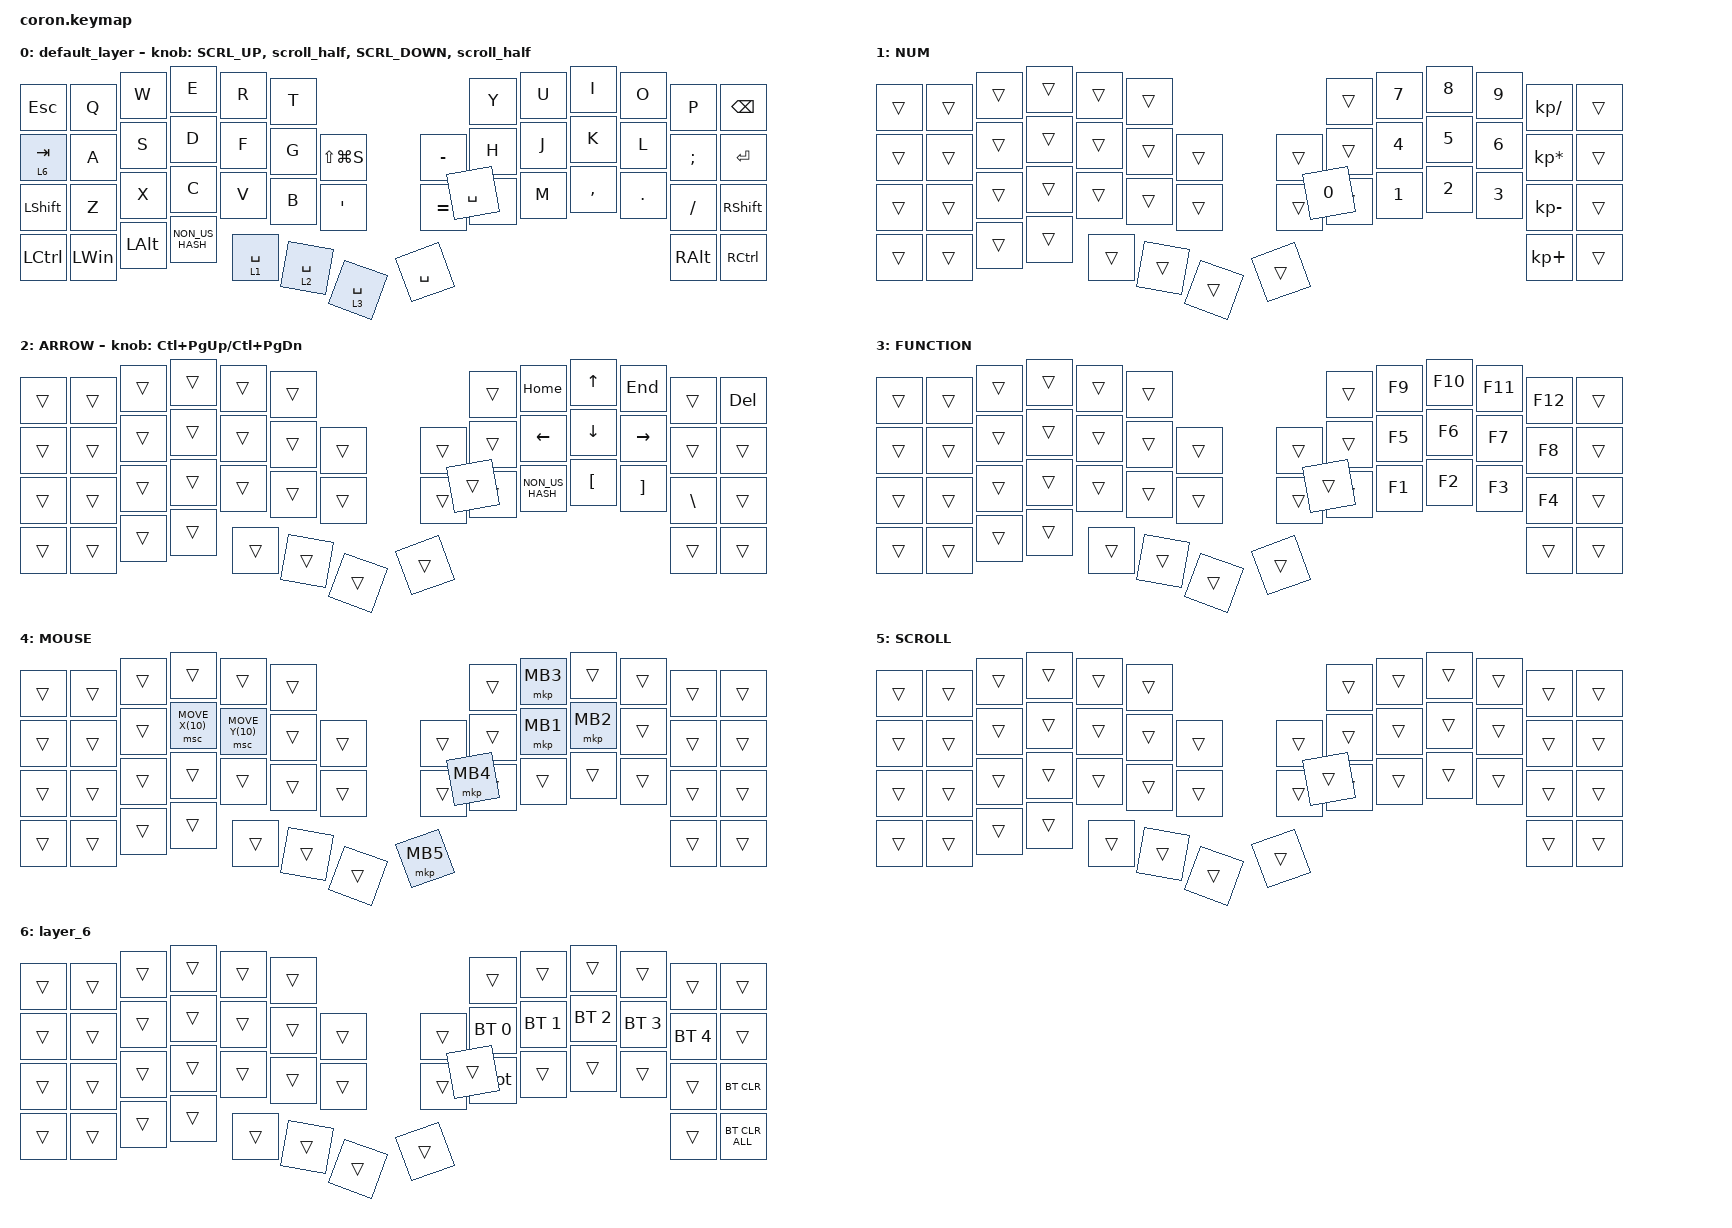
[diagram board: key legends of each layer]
/* coron.keymap */

#include <behaviors.dtsi>
#include <dt-bindings/zmk/bt.h>
#include <dt-bindings/zmk/keys.h>
#include <dt-bindings/zmk/pointing.h>

&mt {
    flavor = "balanced";
    quick-tap-ms = <0>;
};

&trackball {
    automouse-layer = <4>;
    scroll-layers = <5>;
};

&left_encoder {
    status = "okay";
    input-processors = <&scroll_half>;
};

/ {
    combos {
        compatible = "zmk,combos";

        /* Note: Key positions have shifted due to added columns. 
           You will need to recalculate these indices later. */
    };

    macros {
        to_layer_0: to_layer_0 {
            compatible = "zmk,behavior-macro-one-param";
            #binding-cells = <1>;
            bindings = <&to 0 &macro_param_1to1 &kp MACRO_PLACEHOLDER>;
            label = "TO_LAYER_0";
        };
    };

    behaviors {
        lt_to_layer_0: lt_to_layer_0 {
            compatible = "zmk,behavior-hold-tap";
            label = "LAYER_TAP_TO_0";
            bindings = <&mo>, <&to_layer_0>;

            #binding-cells = <2>;
            tapping-term-ms = <200>;
        };
    };

    input_processors {
        scroll_half: scroll_half {
            compatible = "zmk,input-processor-scaler";
            type = "divider";
            divisor = <2>;
        };
    };

    keymap {
        compatible = "zmk,keymap";

        default_layer {
            bindings = <
&kp ESC               &kp Q         &kp W         &kp E            &kp R                   &kp T        &kp Y                   &kp U      &kp I      &kp O          &kp P              &kp BACKSPACE
&lt_to_layer_0 6 TAB  &kp A         &kp S         &kp D            &kp F                   &kp G        &kp LS(LG(S))           &kp MINUS  &kp H      &kp J          &kp K              &kp L          &kp SEMI   &kp ENTER
&kp LEFT_SHIFT        &kp Z         &kp X         &kp C            &kp V                   &kp B        &kp SINGLE_QUOTE        &kp EQUAL  &kp N      &kp M          &kp COMMA          &kp DOT        &kp SLASH  &kp RIGHT_SHIFT
&kp LEFT_CONTROL      &kp LEFT_WIN  &kp LEFT_ALT  &kp NON_US_HASH  &lt_to_layer_0 1 SPACE  &lt 2 SPACE  &lt_to_layer_0 3 SPACE  &kp SPACE  &kp SPACE  &kp RIGHT_ALT  &kp RIGHT_CONTROL
            >;

            sensor-bindings = <
                &msc SCRL_UP  &scroll_half
                &msc SCRL_DOWN &scroll_half
            >;
        };

        NUM {
            bindings = <
&trans  &trans  &trans  &trans  &trans  &trans  &trans  &kp NUMBER_7  &kp NUMBER_8  &kp NUMBER_9  &kp KP_SLASH  &trans
&trans  &trans  &trans  &trans  &trans  &trans  &trans  &trans        &trans        &kp NUMBER_4  &kp NUMBER_5  &kp NUMBER_6  &kp KP_ASTERISK  &trans
&trans  &trans  &trans  &trans  &trans  &trans  &trans  &trans        &trans        &kp NUMBER_1  &kp NUMBER_2  &kp NUMBER_3  &kp KP_SUBTRACT  &trans
&trans  &trans  &trans  &trans  &trans  &trans  &trans  &trans        &kp NUMBER_0  &kp KP_PLUS   &trans
            >;
        };

        ARROW {
            bindings = <
&trans  &trans  &trans  &trans  &trans  &trans  &trans  &kp HOME  &kp UP_ARROW  &kp END          &trans            &kp DELETE
&trans  &trans  &trans  &trans  &trans  &trans  &trans  &trans    &trans        &kp LEFT_ARROW   &kp DOWN_ARROW    &kp RIGHT_ARROW    &trans         &trans
&trans  &trans  &trans  &trans  &trans  &trans  &trans  &trans    &trans        &kp NON_US_HASH  &kp LEFT_BRACKET  &kp RIGHT_BRACKET  &kp BACKSLASH  &trans
&trans  &trans  &trans  &trans  &trans  &trans  &trans  &trans    &trans        &trans           &trans
            >;

            sensor-bindings = <&inc_dec_kp LC(PAGE_UP) LC(PAGE_DOWN)>;
        };

        FUNCTION {
            bindings = <
&trans  &trans  &trans  &trans  &trans  &trans  &trans  &kp F9  &kp F10  &kp F11  &kp F12  &trans
&trans  &trans  &trans  &trans  &trans  &trans  &trans  &trans  &trans   &kp F5   &kp F6   &kp F7  &kp F8  &trans
&trans  &trans  &trans  &trans  &trans  &trans  &trans  &trans  &trans   &kp F1   &kp F2   &kp F3  &kp F4  &trans
&trans  &trans  &trans  &trans  &trans  &trans  &trans  &trans  &trans   &trans   &trans
            >;
        };

        MOUSE {
            bindings = <
&trans  &trans  &trans  &trans           &trans           &trans  &trans  &mkp MB3  &trans    &trans    &trans    &trans
&trans  &trans  &trans  &msc MOVE_X(10)  &msc MOVE_Y(10)  &trans  &trans  &trans    &trans    &mkp MB1  &mkp MB2  &trans  &trans  &trans
&trans  &trans  &trans  &trans           &trans           &trans  &trans  &trans    &trans    &trans    &trans    &trans  &trans  &trans
&trans  &trans  &trans  &trans           &trans           &trans  &trans  &mkp MB5  &mkp MB4  &trans    &trans
            >;
        };

        SCROLL {
            bindings = <
&trans  &trans  &trans  &trans  &trans  &trans  &trans  &trans  &trans  &trans  &trans  &trans
&trans  &trans  &trans  &trans  &trans  &trans  &trans  &trans  &trans  &trans  &trans  &trans  &trans  &trans
&trans  &trans  &trans  &trans  &trans  &trans  &trans  &trans  &trans  &trans  &trans  &trans  &trans  &trans
&trans  &trans  &trans  &trans  &trans  &trans  &trans  &trans  &trans  &trans  &trans
            >;
        };

        layer_6 {
            bindings = <
&trans  &trans  &trans  &trans  &trans  &trans  &trans  &trans  &trans        &trans        &trans          &trans
&trans  &trans  &trans  &trans  &trans  &trans  &trans  &trans  &bt BT_SEL 0  &bt BT_SEL 1  &bt BT_SEL 2    &bt BT_SEL 3  &bt BT_SEL 4  &trans
&trans  &trans  &trans  &trans  &trans  &trans  &trans  &trans  &bootloader   &trans        &trans          &trans        &trans        &bt BT_CLR
&trans  &trans  &trans  &trans  &trans  &trans  &trans  &trans  &trans        &trans        &bt BT_CLR_ALL
            >;
        };
    };
};
